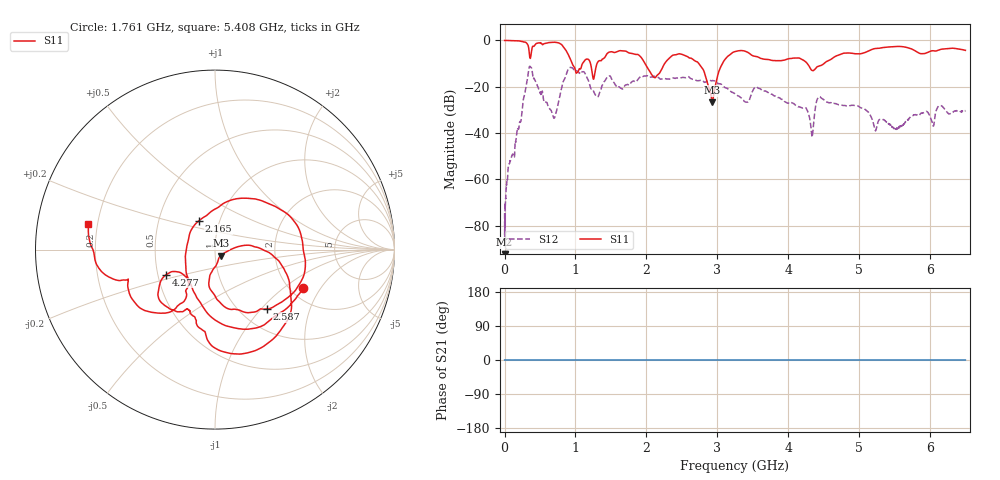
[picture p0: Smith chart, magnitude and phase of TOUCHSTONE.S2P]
!Keysight Technologies,E5063A,MY54503115,A.05.08
!Date: Wed Oct 18 14:40:37 2023
!Data & Calibration Information:
!Freq	S11:NONE(--)	S21:NONE(--)	S12:NONE(--)	S22:NONE(--)
# Hz S dB R 50
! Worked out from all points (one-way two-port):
!   10001 points, 300 kHz to 6.5 GHz, reference 50 ohm
!   highest |S21| = - dB at 300 kHz (marker M1); lowest = - dB at 300 kHz (marker M2)
!   lowest |S11| = -26.8 dB at 2.929 GHz (marker M3), VSWR 1.10, Z = 53.2 - j3.52 ohm
!   |S11| at or under -10 dB: 1.979 GHz to 2.257 GHz (278 MHz wide, 13.1 % of centre); 2.74 GHz to 3.071 GHz (330.8 MHz wide, 11.4 % of centre); 4.27 GHz to 4.505 GHz (234.5 MHz wide, 5.34 % of centre) (the widest 3 of 5)
!   |S22| runs from - to - dB; largest |S21 - S12| = 0.28
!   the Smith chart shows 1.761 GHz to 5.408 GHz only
!   S11 on the Smith chart (normalised r, x): 1.761 GHz: 2.34, -1.40; 2.165 GHz: 0.80, +0.26; 2.587 GHz: 1.31, -1.08; 4.277 GHz: 0.55, -0.17; 5.408 GHz: 0.16, +0.10
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300000  0.00 -0.6  -200.00 0.0  -74.66 43.4  -200.00 0.0
2.219398e8  -0.24 -73.1  -200.00 0.0  -35.22 46.7  -200.00 0.0
3.558336e8  -7.28 -126.0  -200.00 0.0  -11.14 -103.9  -200.00 0.0
5.794233e8  -1.24 169.2  -200.00 0.0  -26.70 11.7  -200.00 0.0
7.172169e8  -0.81 97.4  -200.00 0.0  -32.04 -45.8  -200.00 0.0
8.322616e8  -2.87 15.1  -200.00 0.0  -17.42 -131.7  -200.00 0.0
9.219575e8  -7.55 -62.9  -200.00 0.0  -11.71 115.9  -200.00 0.0
1.0838e9  -11.20 165.7  -200.00 0.0  -13.44 -42.8  -200.00 0.0
1.29959e9  -10.32 151.1  -200.00 0.0  -24.28 -169.6  -200.00 0.0
1.467282e9  -5.16 67.6  -200.00 0.0  -15.55 105.9  -200.00 0.0
1.761069e9  -5.43 -23.6  -200.00 0.0  -19.25 -46.2  -200.00 0.0
2.1647e9  -14.72 119.6  -200.00 0.0  -15.95 68.1  -200.00 0.0
2.1673e9  -14.65 117.2  -200.00 0.0  -15.98 66.4  -200.00 0.0
2.586531e9  -7.13 -48.8  -200.00 0.0  -15.60 -175.3  -200.00 0.0
2.929065e9  -26.79 -46.2  -200.00 0.0  -17.29 -20.9  -200.00 0.0
3.25015e9  -4.84 -48.7  -200.00 0.0  -23.07 141.3  -200.00 0.0
4.277103e9  -10.28 -152.9  -200.00 0.0  -30.88 -126.6  -200.00 0.0
4.33365e9  -12.90 -143.4  -200.00 0.0  -41.05 -135.6  -200.00 0.0
4.444795e9  -10.95 -125.2  -200.00 0.0  -24.29 179.0  -200.00 0.0
5.40805e9  -2.85 168.7  -200.00 0.0  -35.96 -62.6  -200.00 0.0
5.41715e9  -2.82 167.9  -200.00 0.0  -36.03 -67.2  -200.00 0.0
6.5e9  -4.28 105.0  -200.00 0.0  -30.37 18.2  -200.00 0.0
